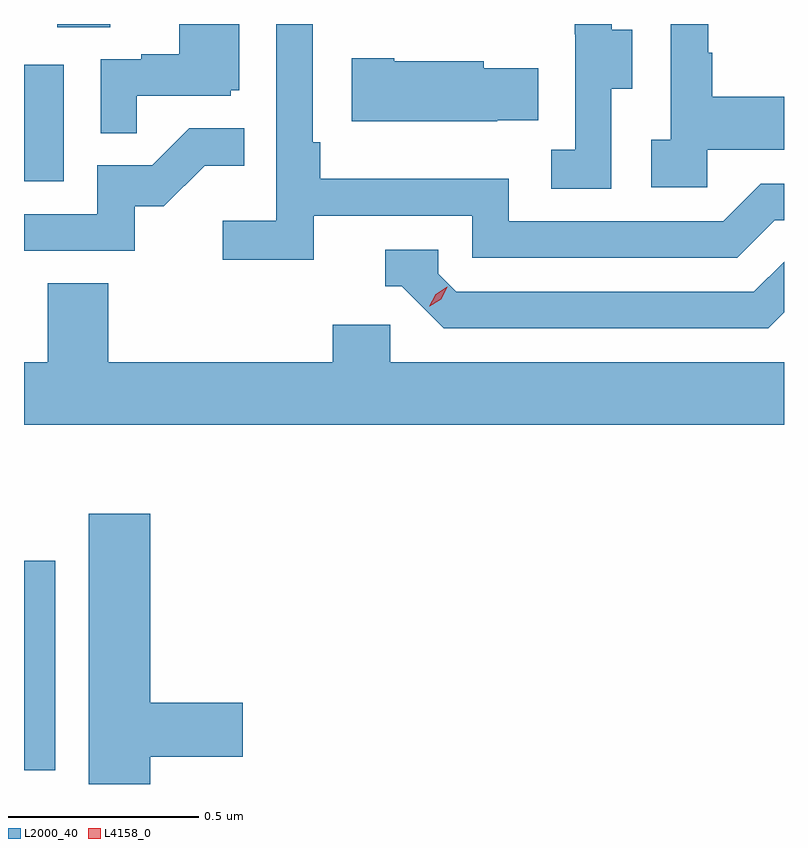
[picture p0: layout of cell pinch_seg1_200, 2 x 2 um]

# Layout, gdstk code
import gdstk
lib = gdstk.Library(unit=1e-6, precision=1e-09)
def R(c, l, rs):  # rectangles x0, y0, x1, y1
    for r in rs: c.add(gdstk.rectangle(r[:2], r[2:], *l))
def P(c, l, *ps):  # polygons
    for p in ps: c.add(gdstk.Polygon(p, *l))
L2000_40 = (2000, 40)
L4158_0 = (4158, 0)

pinch_seg1_200 = lib.new_cell('pinch_seg1_200')
R(pinch_seg1_200, L2000_40, [(956.81,574.798,956.892,575.35), (956.81,576.348,956.914,576.655), (956.897,576.754,957.037,576.762)])
P(pinch_seg1_200, L2000_40, [(958.608,576.431),(958.81,576.431),(958.81,576.571),(958.621,576.571),(958.621,576.686),(958.611,576.686),(958.611,576.762),(958.512,576.762),(958.512,576.458),(958.461,576.458),(958.461,576.333),(958.608,576.333)],
  [(957.572,576.258),(957.99,576.258),(957.99,576.147),(958.687,576.147),(958.786,576.246),(958.81,576.246),(958.81,576.342),(958.749,576.342),(958.65,576.243),(958.086,576.243),(958.086,576.355),(957.59,576.355),(957.59,576.451),(957.57,576.451),(957.57,576.762),(957.474,576.762),(957.474,576.244),(957.333,576.244),(957.333,576.142),(957.572,576.142)],
  [(957.107,576.573),(957.354,576.573),(957.354,576.588),(957.376,576.588),(957.376,576.762),(957.218,576.762),(957.218,576.682),(957.119,576.682),(957.119,576.669),(957.012,576.669),(957.012,576.475),(957.107,576.475)],
  [(958.356,576.592),(958.411,576.592),(958.411,576.747),(958.357,576.747),(958.357,576.762),(958.259,576.762),(958.259,576.735),(958.26,576.735),(958.26,576.431),(958.197,576.431),(958.197,576.328),(958.356,576.328)],
  [(958.055,576.509),(958.163,576.509),(958.163,576.646),(958.02,576.646),(958.02,576.664),(957.784,576.664),(957.784,576.672),(957.672,576.672),(957.672,576.506),(958.055,576.506)],
  [(957.102,576.282),(957.178,576.282),(957.285,576.389),(957.389,576.389),(957.389,576.488),(957.245,576.488),(957.147,576.39),(957.003,576.39),(957.003,576.261),(956.81,576.261),(956.81,576.165),(957.102,576.165)],
  [(958.81,576.003),(958.81,576.136),(958.731,576.057),(957.948,576.057),(957.9,576.105),(957.9,576.168),(957.761,576.168),(957.761,576.072),(957.804,576.072),(957.915,575.961),(958.768,575.961)],
  [(958.81,575.872),(957.774,575.872),(957.774,575.97),(957.623,575.97),(957.623,575.872),(957.032,575.872),(957.032,576.08),(956.872,576.08),(956.872,575.872),(956.81,575.872),(956.81,575.708),(958.81,575.708)],
  [(957.142,574.834),(957.385,574.834),(957.385,574.976),(957.142,574.976),(957.142,575.473),(956.981,575.473),(956.981,574.762),(957.142,574.762)])
P(pinch_seg1_200, L4158_0, [(957.877,576.019),(957.877,576.019),(957.893,576.051),(957.924,576.071),(957.924,576.071),(957.924,576.07),(957.908,576.038),(957.878,576.019)])

lib.write_gds('pinch_seg1_200.gds')
